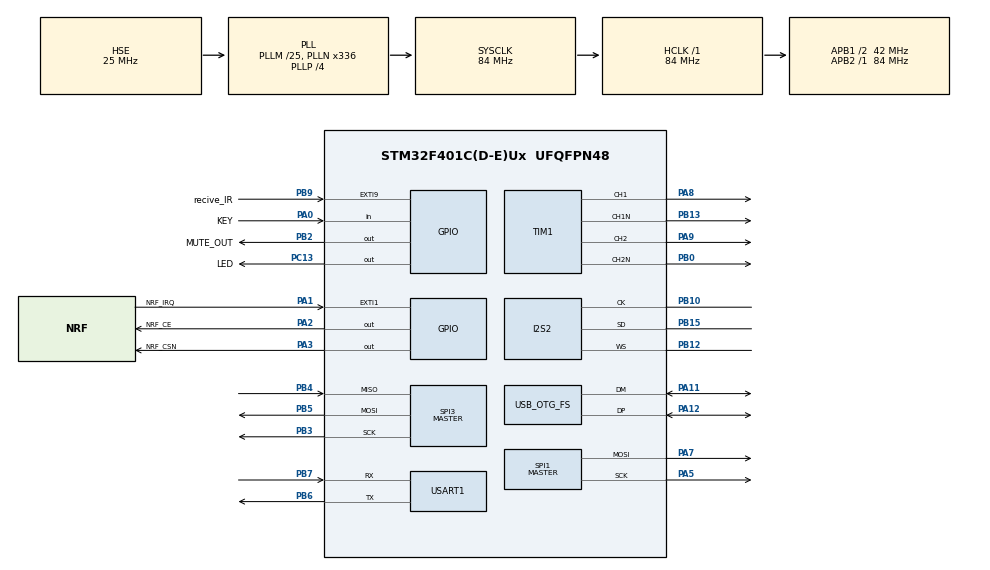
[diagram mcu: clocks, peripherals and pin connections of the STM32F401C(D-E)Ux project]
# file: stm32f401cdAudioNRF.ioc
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Dma.Request0=TIM1_CH1
Dma.Request1=TIM1_CH2
Dma.Request2=SPI2_TX
Dma.Request3=SPI1_TX
Dma.SPI1_TX.3.Direction=DMA_MEMORY_TO_PERIPH
Dma.SPI1_TX.3.FIFOMode=DMA_FIFOMODE_DISABLE
Dma.SPI1_TX.3.Instance=DMA2_Stream3
Dma.SPI1_TX.3.MemDataAlignment=DMA_MDATAALIGN_BYTE
Dma.SPI1_TX.3.MemInc=DMA_MINC_ENABLE
Dma.SPI1_TX.3.Mode=DMA_NORMAL
Dma.SPI1_TX.3.PeriphDataAlignment=DMA_PDATAALIGN_BYTE
Dma.SPI1_TX.3.PeriphInc=DMA_PINC_DISABLE
Dma.SPI1_TX.3.Priority=DMA_PRIORITY_LOW
Dma.SPI2_TX.2.Direction=DMA_MEMORY_TO_PERIPH
Dma.SPI2_TX.2.FIFOMode=DMA_FIFOMODE_ENABLE
Dma.SPI2_TX.2.FIFOThreshold=DMA_FIFO_THRESHOLD_FULL
Dma.SPI2_TX.2.Instance=DMA1_Stream4
Dma.SPI2_TX.2.MemBurst=DMA_MBURST_INC8
Dma.SPI2_TX.2.MemDataAlignment=DMA_MDATAALIGN_HALFWORD
Dma.SPI2_TX.2.MemInc=DMA_MINC_ENABLE
Dma.SPI2_TX.2.Mode=DMA_CIRCULAR
Dma.SPI2_TX.2.PeriphBurst=DMA_PBURST_SINGLE
Dma.SPI2_TX.2.PeriphDataAlignment=DMA_PDATAALIGN_HALFWORD
Dma.SPI2_TX.2.PeriphInc=DMA_PINC_DISABLE
Dma.SPI2_TX.2.Priority=DMA_PRIORITY_HIGH
Dma.TIM1_CH1.0.Direction=DMA_MEMORY_TO_PERIPH
Dma.TIM1_CH1.0.FIFOMode=DMA_FIFOMODE_ENABLE
Dma.TIM1_CH1.0.FIFOThreshold=DMA_FIFO_THRESHOLD_FULL
Dma.TIM1_CH1.0.Instance=DMA2_Stream1
Dma.TIM1_CH1.0.MemBurst=DMA_MBURST_SINGLE
Dma.TIM1_CH1.0.MemDataAlignment=DMA_MDATAALIGN_HALFWORD
Dma.TIM1_CH1.0.MemInc=DMA_MINC_ENABLE
Dma.TIM1_CH1.0.Mode=DMA_CIRCULAR
Dma.TIM1_CH1.0.PeriphBurst=DMA_PBURST_SINGLE
Dma.TIM1_CH1.0.PeriphDataAlignment=DMA_PDATAALIGN_HALFWORD
Dma.TIM1_CH1.0.PeriphInc=DMA_PINC_DISABLE
Dma.TIM1_CH1.0.Priority=DMA_PRIORITY_HIGH
Dma.TIM1_CH2.1.Direction=DMA_MEMORY_TO_PERIPH
Dma.TIM1_CH2.1.FIFOMode=DMA_FIFOMODE_ENABLE
Dma.TIM1_CH2.1.FIFOThreshold=DMA_FIFO_THRESHOLD_FULL
Dma.TIM1_CH2.1.Instance=DMA2_Stream2
Dma.TIM1_CH2.1.MemBurst=DMA_MBURST_SINGLE
Dma.TIM1_CH2.1.MemDataAlignment=DMA_MDATAALIGN_HALFWORD
Dma.TIM1_CH2.1.MemInc=DMA_MINC_ENABLE
Dma.TIM1_CH2.1.Mode=DMA_CIRCULAR
Dma.TIM1_CH2.1.PeriphBurst=DMA_PBURST_SINGLE
Dma.TIM1_CH2.1.PeriphDataAlignment=DMA_PDATAALIGN_HALFWORD
Dma.TIM1_CH2.1.PeriphInc=DMA_PINC_DISABLE
Dma.TIM1_CH2.1.Priority=DMA_PRIORITY_HIGH
I2S2.AudioFreq=I2S_AUDIOFREQ_192K
I2S2.DataFormat=I2S_DATAFORMAT_32B
I2S2.ErrorAudioFreq=-2.34 %
I2S2.FullDuplexMode=I2S_FULLDUPLEXMODE_DISABLE
I2S2.Instance=SPI$Index
I2S2.RealAudioFreq=187.5 KHz
I2S2.VirtualMode=I2S_MODE_MASTER
Mcu.Family=STM32F4
Mcu.Name=STM32F401C(D-E)Ux
Mcu.Package=UFQFPN48
NVIC.DMA1_Stream4_IRQn=true\:1\:0\:true\:false\:true\:false\:true\:true
NVIC.DMA2_Stream1_IRQn=true\:1\:0\:true\:false\:true\:false\:true\:true
NVIC.DMA2_Stream2_IRQn=true\:1\:0\:true\:false\:true\:false\:true\:true
NVIC.DMA2_Stream3_IRQn=true\:1\:0\:true\:false\:true\:false\:true\:true
NVIC.EXTI1_IRQn=true\:0\:0\:false\:false\:true\:true\:true\:true
NVIC.EXTI9_5_IRQn=true\:0\:0\:false\:false\:true\:true\:true\:true
NVIC.PriorityGroup=NVIC_PRIORITYGROUP_4
NVIC.TIM2_IRQn=true\:3\:0\:true\:false\:true\:false\:true\:true
NVIC.TimeBase=TIM2_IRQn
NVIC.TimeBaseIP=TIM2
PA0-WKUP.GPIO_Label=KEY
PA0-WKUP.GPIO_PuPd=GPIO_PULLUP
PA0-WKUP.Signal=GPIO_Input
PA1.GPIO_Label=NRF_IRQ
PA1.GPIO_ModeDefaultEXTI=GPIO_MODE_IT_FALLING
PA1.GPIO_PuPd=GPIO_PULLUP
PA1.Signal=GPXTI1
PA11.Mode=Device_Only
PA11.Signal=USB_OTG_FS_DM
PA12.Mode=Device_Only
PA12.Signal=USB_OTG_FS_DP
PA13.Mode=Serial_Wire
PA13.Signal=SYS_JTMS-SWDIO
PA14.Mode=Serial_Wire
PA14.Signal=SYS_JTCK-SWCLK
PA2.GPIO_Label=NRF_CE
PA2.GPIO_Speed=GPIO_SPEED_FREQ_HIGH
PA2.Signal=GPIO_Output
PA3.GPIO_Label=NRF_CSN
PA3.GPIO_Speed=GPIO_SPEED_FREQ_HIGH
PA3.Signal=GPIO_Output
PA5.Mode=TX_Only_Simplex_Unidirect_Master
PA5.Signal=SPI1_SCK
PA7.Mode=TX_Only_Simplex_Unidirect_Master
PA7.Signal=SPI1_MOSI
PA8.GPIO_ModeDefaultPP=GPIO_MODE_AF_PP
PA8.GPIO_PuPd=GPIO_NOPULL
PA8.GPIO_Speed=GPIO_SPEED_FREQ_VERY_HIGH
PA8.Signal=S_TIM1_CH1
PA9.GPIO_ModeDefaultPP=GPIO_MODE_AF_PP
PA9.GPIO_PuPd=GPIO_NOPULL
PA9.GPIO_Speed=GPIO_SPEED_FREQ_VERY_HIGH
PA9.Signal=S_TIM1_CH2
PB0.GPIO_ModeDefaultPP=GPIO_MODE_AF_PP
PB0.GPIO_PuPd=GPIO_NOPULL
PB0.GPIO_Speed=GPIO_SPEED_FREQ_VERY_HIGH
PB0.Mode=PWM Generation2 CH2 CH2N
PB0.Signal=TIM1_CH2N
PB10.Mode=Half_Duplex_Master
PB10.Signal=I2S2_CK
PB12.Mode=Half_Duplex_Master
PB12.Signal=I2S2_WS
PB13.GPIO_ModeDefaultPP=GPIO_MODE_AF_PP
PB13.GPIO_PuPd=GPIO_NOPULL
PB13.GPIO_Speed=GPIO_SPEED_FREQ_VERY_HIGH
PB13.Mode=PWM Generation1 CH1 CH1N
PB13.Signal=TIM1_CH1N
PB15.Mode=Half_Duplex_Master
PB15.Signal=I2S2_SD
PB2.GPIO_Label=MUTE_OUT
PB2.Signal=GPIO_Output
PB3.Mode=Full_Duplex_Master
PB3.Signal=SPI3_SCK
PB4.Mode=Full_Duplex_Master
PB4.Signal=SPI3_MISO
PB5.Mode=Full_Duplex_Master
PB5.Signal=SPI3_MOSI
PB6.Mode=Asynchronous
PB6.Signal=USART1_TX
PB7.Mode=Asynchronous
PB7.Signal=USART1_RX
PB9.GPIO_Label=recive_IR
PB9.GPIO_ModeDefaultEXTI=GPIO_MODE_IT_RISING_FALLING
PB9.Signal=GPXTI9
PC13-ANTI_TAMP.GPIO_Label=LED
PC13-ANTI_TAMP.GPIO_ModeDefaultOutputPP=GPIO_MODE_OUTPUT_OD
PC13-ANTI_TAMP.Signal=GPIO_Output
PC14-OSC32_IN.Mode=LSE-External-Oscillator
PC14-OSC32_IN.Signal=RCC_OSC32_IN
PC15-OSC32_OUT.Mode=LSE-External-Oscillator
PC15-OSC32_OUT.Signal=RCC_OSC32_OUT
PH0\ -\ OSC_IN.Mode=HSE-External-Oscillator
PH0\ -\ OSC_IN.Signal=RCC_OSC_IN
PH1\ -\ OSC_OUT.Mode=HSE-External-Oscillator
PH1\ -\ OSC_OUT.Signal=RCC_OSC_OUT
ProjectManager.HeapSize=0x200
ProjectManager.StackSize=0x400
ProjectManager.TargetToolchain=STM32CubeIDE
RCC.48MHZClocksFreq_Value=48000000
RCC.AHBFreq_Value=84000000
RCC.APB1CLKDivider=RCC_HCLK_DIV2
RCC.APB1Freq_Value=42000000
RCC.APB1TimFreq_Value=84000000
RCC.APB2Freq_Value=84000000
RCC.APB2TimFreq_Value=84000000
RCC.CortexFreq_Value=84000000
RCC.HCLKFreq_Value=84000000
RCC.HSE_VALUE=25000000
RCC.HSI_VALUE=16000000
RCC.PLLM=25
RCC.PLLN=336
RCC.PLLP=RCC_PLLP_DIV4
RCC.PLLQ=7
RCC.SYSCLKFreq_VALUE=84000000
RCC.SYSCLKSource=RCC_SYSCLKSOURCE_PLLCLK
RCC.VCOOutputFreq_Value=336000000
SH.S_TIM1_CH1.0=TIM1_CH1,PWM Generation1 CH1 CH1N
SH.S_TIM1_CH2.0=TIM1_CH2,PWM Generation2 CH2 CH2N
SPI1.CLKPhase=SPI_PHASE_2EDGE
SPI1.CLKPolarity=SPI_POLARITY_HIGH
SPI1.Direction=SPI_DIRECTION_2LINES
SPI1.Mode=SPI_MODE_MASTER
SPI1.VirtualType=VM_MASTER
SPI3.Direction=SPI_DIRECTION_2LINES
SPI3.Mode=SPI_MODE_MASTER
SPI3.VirtualType=VM_MASTER
TIM1.BreakState=TIM_BREAK_DISABLE
TIM1.Channel-PWM\ Generation1\ CH1\ CH1N=TIM_CHANNEL_1
TIM1.Channel-PWM\ Generation2\ CH2\ CH2N=TIM_CHANNEL_2
TIM10.Prescaler=84*50-1
TIM3.Prescaler=840/4-1
USART1.VirtualMode=VM_ASYNC
USB_OTG_FS.VirtualMode=Device_Only
VP_SYS_VS_tim2.Mode=TIM2
VP_TIM10_VS_ClockSourceINT.Mode=Enable_Timer
VP_TIM3_VS_ClockSourceINT.Mode=Internal
board=custom

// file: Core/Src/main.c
/* USER CODE BEGIN Header */
/**
  ******************************************************************************
  * @file           : main.c
  * @brief          : Main program body
  ******************************************************************************
  * @attention
  *
  * Copyright (c) 2024 STMicroelectronics.
  * All rights reserved.
  *
  * This software is licensed under terms that can be found in the LICENSE file
  * in the root directory of this software component.
  * If no LICENSE file comes with this software, it is provided AS-IS.
  *
  ******************************************************************************
  */
/* USER CODE END Header */
#include "main.h"

/* USER CODE BEGIN Includes */
#include <stdio.h>
#include <stdlib.h>
#include <math.h>
#include "usbd_core.h"
#include "usbd_audio.h"
#include "usbd_hid.h"
#include "IRremote.h"
/* USER CODE END Includes */

/* USER CODE BEGIN PTD */
decode_results results;
volatile irparams_t irparams;
/* USER CODE END PTD */

/* USER CODE BEGIN PD */

#define TIMER_CLOCK_FREQ 1000000.0f

enum modess {NONE=-1,PWM=0,I2S,SPDIF};
#ifdef B24
#define USB_DATA_BITS   20
#define USB_DATA_BITS_H (USB_DATA_BITS-1)
#else
#define USB_DATA_BITS   16
#define USB_DATA_BITS_H (USB_DATA_BITS-1)
#endif
/* USER CODE END PD */

I2S_HandleTypeDef hi2s2;
DMA_HandleTypeDef hdma_spi2_tx;

SPI_HandleTypeDef hspi1;
SPI_HandleTypeDef hspi3;
DMA_HandleTypeDef hdma_spi1_tx;

TIM_HandleTypeDef htim3;
TIM_HandleTypeDef htim10;

UART_HandleTypeDef huart1;

PCD_HandleTypeDef hpcd_USB_OTG_FS;

void SystemClock_Config(void);
static void MX_GPIO_Init(void);
static void MX_DMA_Init(void);
static void MX_USART1_UART_Init(void);
static void MX_I2S2_Init(void);
static void MX_TIM1_Init(void);
static void MX_TIM3_Init(void);
static void MX_USB_OTG_FS_PCD_Init(void);
static void MX_SPI1_Init(void);
static void MX_TIM10_Init(void);
static void MX_SPI3_Init(void);

/* USER CODE BEGIN 0 */
void retarget_put_char(char p)
{
	HAL_UART_Transmit(&huart1, &p, 1, 0xffffff); // send message via UART
}
#define BSIZE 0x2000
__attribute__((section(".noncacheable"))) volatile int8_t circ_buff[BSIZE];
volatile int c_write = 0;
volatile int c_read  = 0;

uint16_t crsize()
{
	return (c_write-c_read)&(BSIZE-1);
}

int  crget(char* r)
{
	if(!crsize()) return 0;
	*r = circ_buff[c_read];
	c_read ++;
	c_read&=BSIZE-1;
	return 1;

}

void cr_flush()
{
	char rr;
	//int ii = 1000;
	while(crsize())
	{
		crget(&rr),HAL_UART_Transmit(&huart1, &rr, 1, 0xffffff); // send message via UART
	}
}
void cr_flush_par()
{
	char rr;
	//int ii = 1000;
	if(crsize())
	{
		crget(&rr),HAL_UART_Transmit(&huart1, &rr, 1, 0xffffff); // send message via UART
	}
}

void crput(char r)
{
	if(crsize()<(BSIZE-1))
	{
		circ_buff[c_write] = r;
		c_write++;
		c_write&=BSIZE-1;
	}
}

int _write(int fd, char* ptr, int len)
{
    (void)fd;
    int i = 0;
    while (ptr[i] && (i < len))
    {
    	if (ptr[i] == '\r')
    	{

    	}
    	else
    	{
    		crput(ptr[i]);
			//retarget_put_char((int)ptr[i]);
			if (ptr[i] == '\n')
			{
				crput('\r');
				//retarget_put_char((int)'\r');
			}
    	}
        i++;
    }
    return len;
}
/*
int fputc(int ch, FILE *f)
{
    while ((USART1->SR & USART_SR_TXE) == 0)
        ;
    USART1->DR = ch;
    return ch;
}
*/
//void USBD_IRQHandler(void);
void usb_dc_low_level_deinit()
{
	printf("usb deinit\n");
}
void usb_dc_low_level_init(void)
{
    GPIO_InitTypeDef GPIO_InitStruct = {0};

    __HAL_RCC_GPIOA_CLK_ENABLE();
    /**USB_OTG_FS GPIO Configuration
    PA11     ------> USB_OTG_FS_DM
    PA12     ------> USB_OTG_FS_DP
    */
    GPIO_InitStruct.Pin = GPIO_PIN_11|GPIO_PIN_12;
    GPIO_InitStruct.Mode = GPIO_MODE_AF_PP;
    GPIO_InitStruct.Pull = GPIO_NOPULL;
    GPIO_InitStruct.Speed = GPIO_SPEED_FREQ_VERY_HIGH;
    GPIO_InitStruct.Alternate = GPIO_AF10_OTG_FS;
    HAL_GPIO_Init(GPIOA, &GPIO_InitStruct);

    /* Peripheral clock enable */
    __HAL_RCC_USB_OTG_FS_CLK_ENABLE();
    /* USB_OTG_HS interrupt Init */
    HAL_NVIC_SetPriority(OTG_FS_IRQn, 1, 0);
    HAL_NVIC_EnableIRQ(OTG_FS_IRQn);
}
int AUDIO_PeriodicTC_FS_Counter;
int AUDIO_OUT_ChangeBuffer_Counter;

#define NUM_PAKS_IN_SUP 25
#define CHANEL_NUM      76
#define AU_BUF_SIZE     64

#define PAYLOAD 32
#define PACKET_SIZE (PAYLOAD-1)

struct sAuPacket
{
	uint8_t num;
	uint8_t data[PACKET_SIZE];
} APacketQ[AU_BUF_SIZE],AControl;

volatile int packet_write;
volatile int packet_read;
volatile int in_bufPos = 0;
void AU_Clear()
{
	packet_write = 0;
	packet_read = 0;
	in_bufPos = 0;
}

inline int AU_size()
{
	return (packet_write-packet_read)&(AU_BUF_SIZE-1);
}

void AU_write(uint8_t bt)
{
	if(AU_size()<(AU_BUF_SIZE-1))
	{
		APacketQ[packet_write].data[in_bufPos] = bt;

		in_bufPos++;
		if(in_bufPos>=PACKET_SIZE)
		{
			packet_write =(packet_write+1)&(AU_BUF_SIZE-1);
			in_bufPos = 0;
		}
	}
}
void AU_clearCtrl()
{
	AControl.num = 0;
	for(int k=0;k<PACKET_SIZE;k++)
	{
		AControl.data[k] = 0;
	}

}
void AU_read()
{
	if(AU_size()>0)
	{
		packet_read =(packet_read+1)&(AU_BUF_SIZE-1);
	}

}

void  AUDIO_Init(uint32_t AudioFreq, uint32_t Volume, uint32_t options)
{
	printf("AUDIO_Init %d %d %d\n",AudioFreq,Volume,options);
}

void AUDIO_OUT_Start(void* pBuffer, uint32_t Size,int sampleBits)
{
	printf("AUDIO_OUT_Start %p Size = %d sampleBits=%d\n",pBuffer,Size,sampleBits);
	int bytesPerSampleLR = 2*sampleBits/8;
}

void AUDIO_OUT_Periodic(void* pBuffer,int nbytes)
{
	AUDIO_PeriodicTC_FS_Counter++;
	uint8_t *pb = pBuffer;
	int placeAvail = (AU_BUF_SIZE-AU_size()-2)*PACKET_SIZE;
	if(placeAvail>nbytes)
	{
		for(int k=0;k<nbytes;k++)
		{
			//if(AU_size()<(AU_BUF_SIZE-1))
			{
				APacketQ[packet_write].data[in_bufPos] = pb[k];

				in_bufPos++;
				if(in_bufPos>=PACKET_SIZE)
				{
					packet_write =(packet_write+1)&(AU_BUF_SIZE-1);
					in_bufPos = 0;
				}
			}
			//AU_write(pb[k]);
		}
	}
	if(nbytes==0)
	{
	//	printf("zero\n");
	}
	return 0;
}
void AUDIO_OUT_ChangeBuffer(uint16_t *pBuffer, uint16_t Size)
{
		AUDIO_OUT_ChangeBuffer_Counter++;
}
void cleanAudioBuffer()
{
}

void HAL_GPIO_EXTI_Callback(uint16_t GPIO_Pin)
{
	if(recive_IR_Pin==GPIO_Pin)
	{
	}
}
void HAL_TIM_PeriodElapsedCallbackM(TIM_HandleTypeDef *htim)
{
	if(htim->Instance == TIM2)
	{

	}

	if(htim->Instance == TIM4)
	{
		//HAL_TIM_PeriodElapsedCallbackS(htim);
	}

}
#include "tm_stm32f1_nrf24l01.h"
static const uint8_t tx_address[5] = {0x17,0x27,0x37,0x47,0x57};
void delay_uS(int mkS)
{
	uint16_t lastAudioUsbTimeStampNew = TIM3->CNT+mkS;
	while(((uint16_t)(TIM3->CNT - lastAudioUsbTimeStampNew))&0x8000);
}
int inited = 0;
void transmit(void *dta)
{
	if(!inited)
	{
		TM_NRF24L01_Transmit_NoACK(dta);
	}
	else
	{
		while(TM_NRF24L01_TxFifoFull()){delay_uS(1);/*cr_flush_par();*/}
		while(TM_NRF24L01_TxFifoFull()){delay_uS(1);/*cr_flush_par();*/}
		TM_NRF24L01_Transmit_NoACK1(dta);
		inited = 1;
	}
	//delay_uS(124);
	delay_uS(130);
	//delay_uS(132);
	//while(TM_NRF24L01_TxFifoFull()){delay_uS(1);}
	//while(TM_NRF24L01_TxFifoFull()){delay_uS(1);}
}
/* USER CODE END 0 */

int main(void)
{

  /* MCU Configuration--------------------------------------------------------*/

  /* Reset of all peripherals, Initializes the Flash interface and the Systick. */
  HAL_Init();

  /* Configure the system clock */
  SystemClock_Config();

  /* Initialize all configured peripherals */
  MX_GPIO_Init();
  MX_DMA_Init();
  MX_USART1_UART_Init();
  MX_I2S2_Init();
  MX_TIM1_Init();
  MX_TIM3_Init();
  MX_USB_OTG_FS_PCD_Init();
  MX_SPI1_Init();
  MX_TIM10_Init();
  MX_SPI3_Init();
  /* USER CODE BEGIN 2 */
  cr_flush();
  printf("\nStart program sys clk=%d MHz\n",HAL_RCC_GetSysClockFreq()/1000000);
  cr_flush();
  extern void audio_v2_init(void);
  AU_Clear();
  audio_v2_init();
  //extern void hid_keyboard_init(void);
  //hid_keyboard_init();
  extern void hid_keyboard_test(uint8_t busid);
  HAL_Delay(100);
	cr_flush();
	 TIM3->PSC  = (int)(HAL_RCC_GetSysClockFreq()/TIMER_CLOCK_FREQ)-1;
	  HAL_TIM_Base_Start(&htim3);

  	int nrfOnline = nRF24_Check();
  	printf("nrfOnline %d\n",nrfOnline);cr_flush();
		TM_NRF24L01_Init(CHANEL_NUM, PAYLOAD);
		/* Set 2MBps data rate and -18dBm output power */
		TM_NRF24L01_SetRF(TM_NRF24L01_DataRate_2M, TM_NRF24L01_OutputPower_0dBm);

		/* Set my address, 5 bytes */
		TM_NRF24L01_SetMyAddress(tx_address);

		/* Set TX address, 5 bytes */
		TM_NRF24L01_SetTxAddress(tx_address);
		TM_NRF24L01_Transmit_Status_t transmissionStatus;
		cr_flush();
		   AU_Clear();
		   int packetNum = 0;
		   int spacketNum = 0;
		   AU_clearCtrl();
  /* USER CODE END 2 */

  /* Infinite loop */
  while (1)
  {

    /* USER CODE BEGIN 3 */
	 // HAL_Delay(1);

	  if(AU_size())
	  {
		  if(AU_size()>AU_BUF_SIZE/2)
		  {
			  HAL_GPIO_WritePin(LED_GPIO_Port, LED_Pin, GPIO_PIN_RESET);
		  }
		  else
		  {
			  HAL_GPIO_WritePin(LED_GPIO_Port, LED_Pin, GPIO_PIN_SET);
		  }
		  struct sAuPacket * curr = &APacketQ[packet_read];
		  curr->num = packetNum;
		  transmit(curr);
		  for(int k=0;k<PACKET_SIZE;k++)
		  {
			AControl.data[k] ^= curr->data[k];
		  }
		  packetNum++;
		  if(packetNum==NUM_PAKS_IN_SUP-1)
		  {
			  packetNum = 0;
			  spacketNum++;
			  if(!(spacketNum%100))
			  {
				  //printf("%d\n",spacketNum);
			  }
			  AControl.num = NUM_PAKS_IN_SUP-1;
			  transmit(&AControl);
			  AU_clearCtrl();
		  }
		  AU_read();
	  }
	 // cr_flush_par();
	  //cr_flush();
  }
  /* USER CODE END 3 */
}

void SystemClock_Config(void)
{
  RCC_OscInitTypeDef RCC_OscInitStruct = {0};
  RCC_ClkInitTypeDef RCC_ClkInitStruct = {0};

  /** Configure the main internal regulator output voltage
  */
  __HAL_RCC_PWR_CLK_ENABLE();
  __HAL_PWR_VOLTAGESCALING_CONFIG(PWR_REGULATOR_VOLTAGE_SCALE2);

  /** Initializes the RCC Oscillators according to the specified parameters
  * in the RCC_OscInitTypeDef structure.
  */
  RCC_OscInitStruct.OscillatorType = RCC_OSCILLATORTYPE_HSE;
  RCC_OscInitStruct.HSEState = RCC_HSE_ON;
  RCC_OscInitStruct.PLL.PLLState = RCC_PLL_ON;
  RCC_OscInitStruct.PLL.PLLSource = RCC_PLLSOURCE_HSE;
  RCC_OscInitStruct.PLL.PLLM = 25;
  RCC_OscInitStruct.PLL.PLLN = 336;
  RCC_OscInitStruct.PLL.PLLP = RCC_PLLP_DIV4;
  RCC_OscInitStruct.PLL.PLLQ = 7;
  if (HAL_RCC_OscConfig(&RCC_OscInitStruct) != HAL_OK)
  {
    Error_Handler();
  }

  /** Initializes the CPU, AHB and APB buses clocks
  */
  RCC_ClkInitStruct.ClockType = RCC_CLOCKTYPE_HCLK|RCC_CLOCKTYPE_SYSCLK
                              |RCC_CLOCKTYPE_PCLK1|RCC_CLOCKTYPE_PCLK2;
  RCC_ClkInitStruct.SYSCLKSource = RCC_SYSCLKSOURCE_PLLCLK;
  RCC_ClkInitStruct.AHBCLKDivider = RCC_SYSCLK_DIV1;
  RCC_ClkInitStruct.APB1CLKDivider = RCC_HCLK_DIV2;
  RCC_ClkInitStruct.APB2CLKDivider = RCC_HCLK_DIV1;

  if (HAL_RCC_ClockConfig(&RCC_ClkInitStruct, FLASH_LATENCY_2) != HAL_OK)
  {
    Error_Handler();
  }
}

static void MX_I2S2_Init(void)
{

  hi2s2.Instance = SPI2;
  hi2s2.Init.Mode = I2S_MODE_MASTER_TX;
  hi2s2.Init.Standard = I2S_STANDARD_PHILIPS;
  hi2s2.Init.DataFormat = I2S_DATAFORMAT_32B;
  hi2s2.Init.MCLKOutput = I2S_MCLKOUTPUT_DISABLE;
  hi2s2.Init.AudioFreq = I2S_AUDIOFREQ_192K;
  hi2s2.Init.CPOL = I2S_CPOL_LOW;
  hi2s2.Init.ClockSource = I2S_CLOCK_PLL;
  hi2s2.Init.FullDuplexMode = I2S_FULLDUPLEXMODE_DISABLE;
  if (HAL_I2S_Init(&hi2s2) != HAL_OK)
  {
    Error_Handler();
  }

}

static void MX_SPI1_Init(void)
{

  /* SPI1 parameter configuration*/
  hspi1.Instance = SPI1;
  hspi1.Init.Mode = SPI_MODE_MASTER;
  hspi1.Init.Direction = SPI_DIRECTION_2LINES;
  hspi1.Init.DataSize = SPI_DATASIZE_8BIT;
  hspi1.Init.CLKPolarity = SPI_POLARITY_HIGH;
  hspi1.Init.CLKPhase = SPI_PHASE_2EDGE;
  hspi1.Init.NSS = SPI_NSS_SOFT;
  hspi1.Init.BaudRatePrescaler = SPI_BAUDRATEPRESCALER_2;
  hspi1.Init.FirstBit = SPI_FIRSTBIT_MSB;
  hspi1.Init.TIMode = SPI_TIMODE_DISABLE;
  hspi1.Init.CRCCalculation = SPI_CRCCALCULATION_DISABLE;
  hspi1.Init.CRCPolynomial = 10;
  if (HAL_SPI_Init(&hspi1) != HAL_OK)
  {
    Error_Handler();
  }

}

static void MX_SPI3_Init(void)
{

  /* SPI3 parameter configuration*/
  hspi3.Instance = SPI3;
  hspi3.Init.Mode = SPI_MODE_MASTER;
  hspi3.Init.Direction = SPI_DIRECTION_2LINES;
  hspi3.Init.DataSize = SPI_DATASIZE_8BIT;
  hspi3.Init.CLKPolarity = SPI_POLARITY_LOW;
  hspi3.Init.CLKPhase = SPI_PHASE_1EDGE;
  hspi3.Init.NSS = SPI_NSS_SOFT;
  hspi3.Init.BaudRatePrescaler = SPI_BAUDRATEPRESCALER_2;
  hspi3.Init.FirstBit = SPI_FIRSTBIT_MSB;
  hspi3.Init.TIMode = SPI_TIMODE_DISABLE;
  hspi3.Init.CRCCalculation = SPI_CRCCALCULATION_DISABLE;
  hspi3.Init.CRCPolynomial = 10;
  if (HAL_SPI_Init(&hspi3) != HAL_OK)
  {
    Error_Handler();
  }

}

static void MX_TIM1_Init(void)
{

  LL_TIM_InitTypeDef TIM_InitStruct = {0};
  LL_TIM_OC_InitTypeDef TIM_OC_InitStruct = {0};
  LL_TIM_BDTR_InitTypeDef TIM_BDTRInitStruct = {0};

  LL_GPIO_InitTypeDef GPIO_InitStruct = {0};

  /* Peripheral clock enable */
  LL_APB2_GRP1_EnableClock(LL_APB2_GRP1_PERIPH_TIM1);

  /* TIM1 DMA Init */

  /* TIM1_CH1 Init */
  LL_DMA_SetChannelSelection(DMA2, LL_DMA_STREAM_1, LL_DMA_CHANNEL_6);

  LL_DMA_SetDataTransferDirection(DMA2, LL_DMA_STREAM_1, LL_DMA_DIRECTION_MEMORY_TO_PERIPH);

  LL_DMA_SetStreamPriorityLevel(DMA2, LL_DMA_STREAM_1, LL_DMA_PRIORITY_HIGH);

  LL_DMA_SetMode(DMA2, LL_DMA_STREAM_1, LL_DMA_MODE_CIRCULAR);

  LL_DMA_SetPeriphIncMode(DMA2, LL_DMA_STREAM_1, LL_DMA_PERIPH_NOINCREMENT);

  LL_DMA_SetMemoryIncMode(DMA2, LL_DMA_STREAM_1, LL_DMA_MEMORY_INCREMENT);

  LL_DMA_SetPeriphSize(DMA2, LL_DMA_STREAM_1, LL_DMA_PDATAALIGN_HALFWORD);

  LL_DMA_SetMemorySize(DMA2, LL_DMA_STREAM_1, LL_DMA_MDATAALIGN_HALFWORD);

  LL_DMA_EnableFifoMode(DMA2, LL_DMA_STREAM_1);

  LL_DMA_SetFIFOThreshold(DMA2, LL_DMA_STREAM_1, LL_DMA_FIFOTHRESHOLD_FULL);

  LL_DMA_SetMemoryBurstxfer(DMA2, LL_DMA_STREAM_1, LL_DMA_MBURST_SINGLE);

  LL_DMA_SetPeriphBurstxfer(DMA2, LL_DMA_STREAM_1, LL_DMA_PBURST_SINGLE);

  /* TIM1_CH2 Init */
  LL_DMA_SetChannelSelection(DMA2, LL_DMA_STREAM_2, LL_DMA_CHANNEL_6);

  LL_DMA_SetDataTransferDirection(DMA2, LL_DMA_STREAM_2, LL_DMA_DIRECTION_MEMORY_TO_PERIPH);

  LL_DMA_SetStreamPriorityLevel(DMA2, LL_DMA_STREAM_2, LL_DMA_PRIORITY_HIGH);

  LL_DMA_SetMode(DMA2, LL_DMA_STREAM_2, LL_DMA_MODE_CIRCULAR);

  LL_DMA_SetPeriphIncMode(DMA2, LL_DMA_STREAM_2, LL_DMA_PERIPH_NOINCREMENT);

  LL_DMA_SetMemoryIncMode(DMA2, LL_DMA_STREAM_2, LL_DMA_MEMORY_INCREMENT);

  LL_DMA_SetPeriphSize(DMA2, LL_DMA_STREAM_2, LL_DMA_PDATAALIGN_HALFWORD);

  LL_DMA_SetMemorySize(DMA2, LL_DMA_STREAM_2, LL_DMA_MDATAALIGN_HALFWORD);

  LL_DMA_EnableFifoMode(DMA2, LL_DMA_STREAM_2);

  LL_DMA_SetFIFOThreshold(DMA2, LL_DMA_STREAM_2, LL_DMA_FIFOTHRESHOLD_FULL);

  LL_DMA_SetMemoryBurstxfer(DMA2, LL_DMA_STREAM_2, LL_DMA_MBURST_SINGLE);

  LL_DMA_SetPeriphBurstxfer(DMA2, LL_DMA_STREAM_2, LL_DMA_PBURST_SINGLE);

  TIM_InitStruct.Prescaler = 0;
  TIM_InitStruct.CounterMode = LL_TIM_COUNTERMODE_UP;
  TIM_InitStruct.Autoreload = 65535;
  TIM_InitStruct.ClockDivision = LL_TIM_CLOCKDIVISION_DIV1;
  TIM_InitStruct.RepetitionCounter = 0;
  LL_TIM_Init(TIM1, &TIM_InitStruct);
  LL_TIM_DisableARRPreload(TIM1);
  LL_TIM_OC_EnablePreload(TIM1, LL_TIM_CHANNEL_CH1);
  TIM_OC_InitStruct.OCMode = LL_TIM_OCMODE_PWM1;
  TIM_OC_InitStruct.OCState = LL_TIM_OCSTATE_DISABLE;
  TIM_OC_InitStruct.OCNState = LL_TIM_OCSTATE_DISABLE;
  TIM_OC_InitStruct.CompareValue = 0;
  TIM_OC_InitStruct.OCPolarity = LL_TIM_OCPOLARITY_HIGH;
  TIM_OC_InitStruct.OCNPolarity = LL_TIM_OCPOLARITY_HIGH;
  TIM_OC_InitStruct.OCIdleState = LL_TIM_OCIDLESTATE_LOW;
  TIM_OC_InitStruct.OCNIdleState = LL_TIM_OCIDLESTATE_LOW;
  LL_TIM_OC_Init(TIM1, LL_TIM_CHANNEL_CH1, &TIM_OC_InitStruct);
  LL_TIM_OC_DisableFast(TIM1, LL_TIM_CHANNEL_CH1);
  LL_TIM_OC_EnablePreload(TIM1, LL_TIM_CHANNEL_CH2);
  LL_TIM_OC_Init(TIM1, LL_TIM_CHANNEL_CH2, &TIM_OC_InitStruct);
  LL_TIM_OC_DisableFast(TIM1, LL_TIM_CHANNEL_CH2);
  LL_TIM_SetTriggerOutput(TIM1, LL_TIM_TRGO_RESET);
  LL_TIM_DisableMasterSlaveMode(TIM1);
  TIM_BDTRInitStruct.OSSRState = LL_TIM_OSSR_DISABLE;
  TIM_BDTRInitStruct.OSSIState = LL_TIM_OSSI_DISABLE;
  TIM_BDTRInitStruct.LockLevel = LL_TIM_LOCKLEVEL_OFF;
  TIM_BDTRInitStruct.DeadTime = 0;
  TIM_BDTRInitStruct.BreakState = LL_TIM_BREAK_DISABLE;
  TIM_BDTRInitStruct.BreakPolarity = LL_TIM_BREAK_POLARITY_HIGH;
  TIM_BDTRInitStruct.AutomaticOutput = LL_TIM_AUTOMATICOUTPUT_DISABLE;
  LL_TIM_BDTR_Init(TIM1, &TIM_BDTRInitStruct);
  LL_AHB1_GRP1_EnableClock(LL_AHB1_GRP1_PERIPH_GPIOB);
  LL_AHB1_GRP1_EnableClock(LL_AHB1_GRP1_PERIPH_GPIOA);
  /**TIM1 GPIO Configuration
  PB0   ------> TIM1_CH2N
  PB13   ------> TIM1_CH1N
  PA8   ------> TIM1_CH1
  PA9   ------> TIM1_CH2
  */
  GPIO_InitStruct.Pin = LL_GPIO_PIN_0|LL_GPIO_PIN_13;
  GPIO_InitStruct.Mode = LL_GPIO_MODE_ALTERNATE;
  GPIO_InitStruct.Speed = LL_GPIO_SPEED_FREQ_VERY_HIGH;
  GPIO_InitStruct.OutputType = LL_GPIO_OUTPUT_PUSHPULL;
  GPIO_InitStruct.Pull = LL_GPIO_PULL_NO;
  GPIO_InitStruct.Alternate = LL_GPIO_AF_1;
  LL_GPIO_Init(GPIOB, &GPIO_InitStruct);

  GPIO_InitStruct.Pin = LL_GPIO_PIN_8|LL_GPIO_PIN_9;
  GPIO_InitStruct.Mode = LL_GPIO_MODE_ALTERNATE;
  GPIO_InitStruct.Speed = LL_GPIO_SPEED_FREQ_VERY_HIGH;
  GPIO_InitStruct.OutputType = LL_GPIO_OUTPUT_PUSHPULL;
  GPIO_InitStruct.Pull = LL_GPIO_PULL_NO;
  GPIO_InitStruct.Alternate = LL_GPIO_AF_1;
  LL_GPIO_Init(GPIOA, &GPIO_InitStruct);

}

static void MX_TIM3_Init(void)
{

  TIM_ClockConfigTypeDef sClockSourceConfig = {0};
  TIM_MasterConfigTypeDef sMasterConfig = {0};

  htim3.Instance = TIM3;
  htim3.Init.Prescaler = 840/4-1;
  htim3.Init.CounterMode = TIM_COUNTERMODE_UP;
  htim3.Init.Period = 65535;
  htim3.Init.ClockDivision = TIM_CLOCKDIVISION_DIV1;
  htim3.Init.AutoReloadPreload = TIM_AUTORELOAD_PRELOAD_DISABLE;
  if (HAL_TIM_Base_Init(&htim3) != HAL_OK)
  {
    Error_Handler();
  }
  sClockSourceConfig.ClockSource = TIM_CLOCKSOURCE_INTERNAL;
  if (HAL_TIM_ConfigClockSource(&htim3, &sClockSourceConfig) != HAL_OK)
  {
    Error_Handler();
  }
  sMasterConfig.MasterOutputTrigger = TIM_TRGO_RESET;
  sMasterConfig.MasterSlaveMode = TIM_MASTERSLAVEMODE_DISABLE;
  if (HAL_TIMEx_MasterConfigSynchronization(&htim3, &sMasterConfig) != HAL_OK)
  {
    Error_Handler();
  }

}

static void MX_TIM10_Init(void)
{

  htim10.Instance = TIM10;
  htim10.Init.Prescaler = 84*50-1;
  htim10.Init.CounterMode = TIM_COUNTERMODE_UP;
  htim10.Init.Period = 65535;
  htim10.Init.ClockDivision = TIM_CLOCKDIVISION_DIV1;
  htim10.Init.AutoReloadPreload = TIM_AUTORELOAD_PRELOAD_DISABLE;
  if (HAL_TIM_Base_Init(&htim10) != HAL_OK)
  {
    Error_Handler();
  }

}

static void MX_USART1_UART_Init(void)
{

  huart1.Instance = USART1;
  huart1.Init.BaudRate = 115200;
  huart1.Init.WordLength = UART_WORDLENGTH_8B;
  huart1.Init.StopBits = UART_STOPBITS_1;
  huart1.Init.Parity = UART_PARITY_NONE;
  huart1.Init.Mode = UART_MODE_TX_RX;
  huart1.Init.HwFlowCtl = UART_HWCONTROL_NONE;
  huart1.Init.OverSampling = UART_OVERSAMPLING_16;
  if (HAL_UART_Init(&huart1) != HAL_OK)
  {
    Error_Handler();
  }

}

static void MX_USB_OTG_FS_PCD_Init(void)
{

  hpcd_USB_OTG_FS.Instance = USB_OTG_FS;
  hpcd_USB_OTG_FS.Init.dev_endpoints = 4;
  hpcd_USB_OTG_FS.Init.speed = PCD_SPEED_FULL;
  hpcd_USB_OTG_FS.Init.dma_enable = DISABLE;
  hpcd_USB_OTG_FS.Init.phy_itface = PCD_PHY_EMBEDDED;
  hpcd_USB_OTG_FS.Init.Sof_enable = DISABLE;
  hpcd_USB_OTG_FS.Init.low_power_enable = DISABLE;
  hpcd_USB_OTG_FS.Init.lpm_enable = DISABLE;
  hpcd_USB_OTG_FS.Init.vbus_sensing_enable = DISABLE;
  hpcd_USB_OTG_FS.Init.use_dedicated_ep1 = DISABLE;
  if (HAL_PCD_Init(&hpcd_USB_OTG_FS) != HAL_OK)
  {
    Error_Handler();
  }

}

static void MX_DMA_Init(void)
{

  /* DMA controller clock enable */
  __HAL_RCC_DMA2_CLK_ENABLE();
  __HAL_RCC_DMA1_CLK_ENABLE();

  /* DMA interrupt init */
  /* DMA1_Stream4_IRQn interrupt configuration */
  HAL_NVIC_SetPriority(DMA1_Stream4_IRQn, 1, 0);
  HAL_NVIC_EnableIRQ(DMA1_Stream4_IRQn);
  /* DMA2_Stream1_IRQn interrupt configuration */
  NVIC_SetPriority(DMA2_Stream1_IRQn, NVIC_EncodePriority(NVIC_GetPriorityGrouping(),1, 0));
  NVIC_EnableIRQ(DMA2_Stream1_IRQn);
  /* DMA2_Stream2_IRQn interrupt configuration */
  NVIC_SetPriority(DMA2_Stream2_IRQn, NVIC_EncodePriority(NVIC_GetPriorityGrouping(),1, 0));
  NVIC_EnableIRQ(DMA2_Stream2_IRQn);
  /* DMA2_Stream3_IRQn interrupt configuration */
  HAL_NVIC_SetPriority(DMA2_Stream3_IRQn, 1, 0);
  HAL_NVIC_EnableIRQ(DMA2_Stream3_IRQn);

}

static void MX_GPIO_Init(void)
{
  GPIO_InitTypeDef GPIO_InitStruct = {0};

  /* GPIO Ports Clock Enable */
  __HAL_RCC_GPIOC_CLK_ENABLE();
  __HAL_RCC_GPIOH_CLK_ENABLE();
  __HAL_RCC_GPIOA_CLK_ENABLE();
  __HAL_RCC_GPIOB_CLK_ENABLE();

  /*Configure GPIO pin Output Level */
  HAL_GPIO_WritePin(LED_GPIO_Port, LED_Pin, GPIO_PIN_RESET);

  /*Configure GPIO pin Output Level */
  HAL_GPIO_WritePin(GPIOA, NRF_CE_Pin|NRF_CSN_Pin, GPIO_PIN_RESET);

  /*Configure GPIO pin Output Level */
  HAL_GPIO_WritePin(MUTE_OUT_GPIO_Port, MUTE_OUT_Pin, GPIO_PIN_RESET);

  /*Configure GPIO pin : LED_Pin */
  GPIO_InitStruct.Pin = LED_Pin;
  GPIO_InitStruct.Mode = GPIO_MODE_OUTPUT_OD;
  GPIO_InitStruct.Pull = GPIO_NOPULL;
  GPIO_InitStruct.Speed = GPIO_SPEED_FREQ_LOW;
  HAL_GPIO_Init(LED_GPIO_Port, &GPIO_InitStruct);

  /*Configure GPIO pin : KEY_Pin */
  GPIO_InitStruct.Pin = KEY_Pin;
  GPIO_InitStruct.Mode = GPIO_MODE_INPUT;
  GPIO_InitStruct.Pull = GPIO_PULLUP;
  HAL_GPIO_Init(KEY_GPIO_Port, &GPIO_InitStruct);

  /*Configure GPIO pin : NRF_IRQ_Pin */
  GPIO_InitStruct.Pin = NRF_IRQ_Pin;
  GPIO_InitStruct.Mode = GPIO_MODE_IT_FALLING;
  GPIO_InitStruct.Pull = GPIO_PULLUP;
  HAL_GPIO_Init(NRF_IRQ_GPIO_Port, &GPIO_InitStruct);

  /*Configure GPIO pins : NRF_CE_Pin NRF_CSN_Pin */
  GPIO_InitStruct.Pin = NRF_CE_Pin|NRF_CSN_Pin;
  GPIO_InitStruct.Mode = GPIO_MODE_OUTPUT_PP;
  GPIO_InitStruct.Pull = GPIO_NOPULL;
  GPIO_InitStruct.Speed = GPIO_SPEED_FREQ_HIGH;
  HAL_GPIO_Init(GPIOA, &GPIO_InitStruct);

  /*Configure GPIO pin : MUTE_OUT_Pin */
  GPIO_InitStruct.Pin = MUTE_OUT_Pin;
  GPIO_InitStruct.Mode = GPIO_MODE_OUTPUT_PP;
  GPIO_InitStruct.Pull = GPIO_NOPULL;
  GPIO_InitStruct.Speed = GPIO_SPEED_FREQ_LOW;
  HAL_GPIO_Init(MUTE_OUT_GPIO_Port, &GPIO_InitStruct);

  /*Configure GPIO pin : recive_IR_Pin */
  GPIO_InitStruct.Pin = recive_IR_Pin;
  GPIO_InitStruct.Mode = GPIO_MODE_IT_RISING_FALLING;
  GPIO_InitStruct.Pull = GPIO_NOPULL;
  HAL_GPIO_Init(recive_IR_GPIO_Port, &GPIO_InitStruct);

  /* EXTI interrupt init*/
  HAL_NVIC_SetPriority(EXTI1_IRQn, 0, 0);
  HAL_NVIC_EnableIRQ(EXTI1_IRQn);

  HAL_NVIC_SetPriority(EXTI9_5_IRQn, 0, 0);
  HAL_NVIC_EnableIRQ(EXTI9_5_IRQn);

}

void HAL_TIM_PeriodElapsedCallback(TIM_HandleTypeDef *htim)
{
  if (htim->Instance == TIM2) {
    HAL_IncTick();
  }
}

void Error_Handler(void)
{
  __disable_irq();
  while (1)
  {
  }
}
